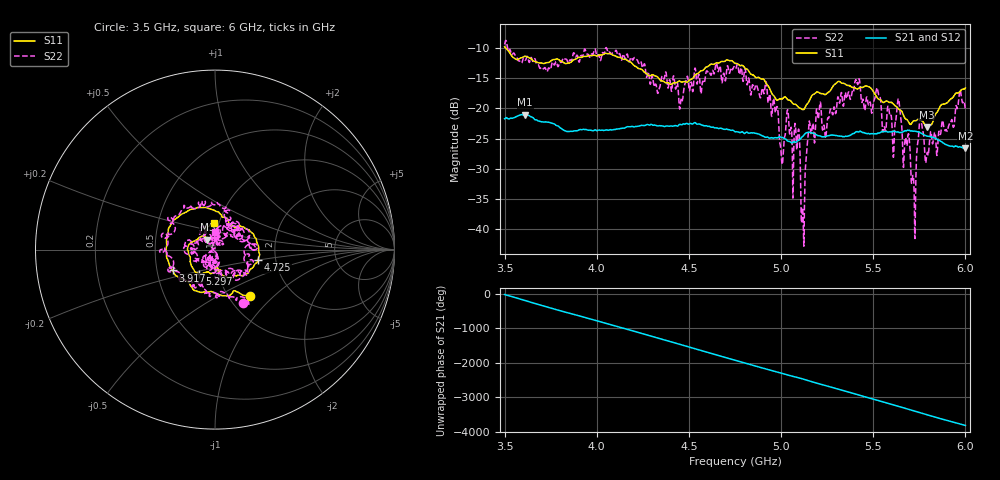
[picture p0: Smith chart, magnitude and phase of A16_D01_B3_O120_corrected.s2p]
! Created with skrf 1.9.0 (http://scikit-rf.org).
# Hz S RI R 50.0
!freq ReS11 ImS11 ReS21 ImS21 ReS12 ImS12 ReS22 ImS22
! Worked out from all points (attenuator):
!   1601 points, 3.5 GHz to 6 GHz, reference 50 ohm
!   highest |S21| = -21.04 dB at 3.611 GHz (marker M1); lowest = -26.6 dB at 6 GHz (marker M2)
!   lowest |S11| = -23.1 dB at 5.791 GHz (marker M3), VSWR 1.15, Z = 45.6 + j5.08 ohm
!   |S11| at or under -10 dB: 3.505 GHz to end of sweep
!   |S22| runs from -42.8 to -8.8 dB; largest |S21 - S12| = 0.0013
!   S11 on the Smith chart (normalised r, x): 3.5 GHz: 1.25, -0.72; 3.917 GHz: 0.60, -0.15; 4.725 GHz: 1.62, -0.20; 5.297 GHz: 0.81, -0.22; 6 GHz: 0.95, +0.28
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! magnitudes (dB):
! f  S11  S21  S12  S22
! 3.5 GHz  -9.8  -21.7  -21.7  -9.5
! 3.611 GHz  -11.4  -21.0  -21.1  -12.0
! 3.917 GHz  -11.6  -23.6  -23.6  -11.3
! 4.334 GHz  -15.0  -22.9  -22.9  -17.3
! 4.725 GHz  -12.2  -23.6  -23.6  -13.7
! 4.75 GHz  -12.6  -23.9  -23.8  -13.4
! 4.969 GHz  -18.3  -24.9  -24.9  -20.7
! 5.003 GHz  -18.4  -24.8  -24.8  -28.7
! 5.031 GHz  -18.4  -25.3  -25.2  -20.8
! 5.086 GHz  -19.6  -25.5  -25.5  -26.9
! 5.117 GHz  -20.2  -24.7  -24.6  -36.4
! 5.144 GHz  -19.2  -24.0  -24.0  -25.4
! 5.167 GHz  -17.9  -24.1  -24.0  -23.5
! 5.297 GHz  -15.9  -24.5  -24.5  -20.8
! 5.414 GHz  -16.8  -23.9  -23.9  -15.9
! 5.584 GHz  -19.0  -23.9  -23.9  -20.0
! 5.612 GHz  -19.4  -23.8  -23.7  -26.2
! 5.641 GHz  -20.2  -24.0  -24.0  -19.0
! 5.717 GHz  -22.1  -23.8  -23.8  -31.2
! 5.755 GHz  -21.9  -24.0  -24.0  -21.6
! 5.791 GHz  -23.1  -24.6  -24.5  -27.6
! 6 GHz  -16.6  -26.6  -26.6  -20.2
